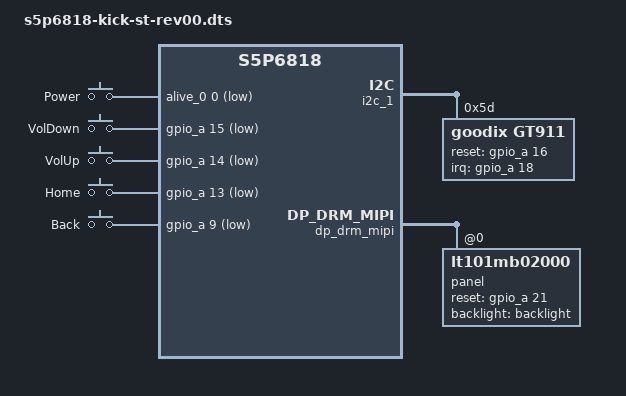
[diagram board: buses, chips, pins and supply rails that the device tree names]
/*
 * Copyright (C) 2016  Nexell Co., Ltd.
 * Author: Youngbok, Park <ybpark@nexell.co.kr>
 *
 * This program is free software; you can redistribute it and/or
 * modify it under the terms of the GNU General Public License
 * as published by the Free Software Foundation; either version 2
 * of the License, or (at your option) any later version.
 *
 * This program is distributed in the hope that it will be useful,
 * but WITHOUT ANY WARRANTY; without even the implied warranty of
 * MERCHANTABILITY or FITNESS FOR A PARTICULAR PURPOSE.  See the
 * GNU General Public License for more details.
 *
 * You should have received a copy of the GNU General Public License
 * along with this program.  If not, see <http://www.gnu.org/licenses/>.
 */

/dts-v1/;
/memreserve/ 0xbde00000 0x00100000; /* OP-TEE SHM */
#include "s5p6818-kick-st-common.dtsi"


/ {
	soc {

	pinctrl@C0010000 {
			key_power:key_power {
				nexell,pins = "alive-0";
				nexell,pin-function = <0>;
				nexell,pin-pull = <1>;
				nexell,pin-strength = <0>;
			};

			key_back:key_back {
				nexell,pins = "gpioa-15";
				nexell,pin-function = <0>;
				nexell,pin-pull = <1>;
				nexell,pin-strength = <0>;
			};

			key_home:key_home {
				nexell,pins = "gpioa-14";
				nexell,pin-function = <0>;
				nexell,pin-pull = <1>;
				nexell,pin-strength = <0>;
			};

			key_volup:key_volup {
				nexell,pins = "gpioa-13";
				nexell,pin-function = <0>;
				nexell,pin-pull = <1>;
				nexell,pin-strength = <0>;
			};

			key_voldown:key_voldown {
				nexell,pins = "gpioa-9";
				nexell,pin-function = <0>;
				nexell,pin-pull = <1>;
				nexell,pin-strength = <0>;
			};

			pmic_irq:pmic_irq{
				nexell,pins = "alive-5";
				nexell,pin-function = <0>;
				nexell,pin-pull = <1>;
				nexell,pin-strength = <0>;
			};
		};

		gpio_key: gpio_keys {
			compatible = "gpio-keys";
			#address-cells = <1>;
			#size-cells = <0>;
			pinctrl-names = "default";
			pinctrl-0 = <&key_power &key_back &key_voldown
				&key_home>;

			power {
				label = "Power";
				gpios = <&alive_0 0 1>;
				linux,code = <KEY_POWER>;
				gpio-key,wakeup;
			};

			voldown {
				label = "VolDown";
				gpios = <&gpio_a 15 1>;
				linux,code = <KEY_VOLUMEDOWN>;
			};

			volup {
				label = "VolUp";
				gpios = <&gpio_a 14 1>;
				linux,code = <KEY_VOLUMEUP>;
			};

			home {
				label = "Home";
				gpios = <&gpio_a 13 1>;
				linux,code = <KEY_HOMEPAGE>;
			};

			back {
				label = "Back";
				gpios = <&gpio_a 9 1>;
				linux,code = <KEY_BACK>;
			};
		};

		i2c_1:i2c@c00a5000 {
			status = "okay";
			#address-cells = <1>;
			#size-cells = <0>;

			goodix@5d {
				compatible = "goodix,gt911";
				reg = <0x5d>;
				interrupt-parent = <&gpio_a>;
				interrupts = <18 IRQ_TYPE_EDGE_FALLING>;
				reset-gpios = <&gpio_a 16 0>;
				irq-gpios = <&gpio_a 18 0>;
			};
		};
	};	/*** soc ***/

};

&dp_drm_mipi {
	status = "okay";
	hs_bitrate = <1000>;
	lp_bitrate = <80>;

	panel@0 {
		compatible = "lt101mb02000";
		backlight = <&backlight>;
		reg = <0>;
		reset-gpio = <&gpio_a 21 0>;
		power-on-delay= <50>;
		reset-delay = <100>;
		init-delay = <100>;
	};

	dp_control {
		clk_src_lv0 = <0>;
		clk_div_lv0 = <5>;
		clk_src_lv1 = <7>;
		clk_div_lv1 = <1>;
		out_format = <3>;
		vs_start_offset = <2387>;
		ev_start_offset = <2387>;
		vs_end_offset = <0>;
		ev_end_offset = <0>;
	};
};
